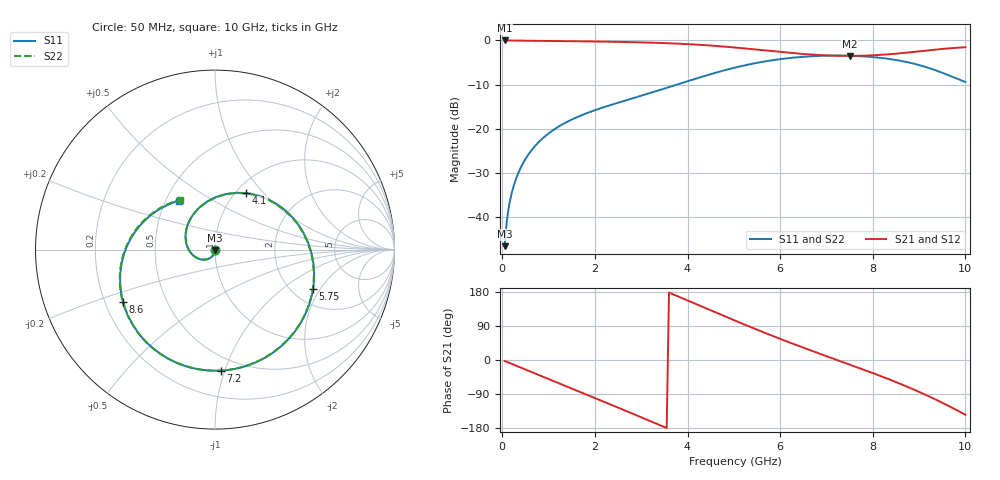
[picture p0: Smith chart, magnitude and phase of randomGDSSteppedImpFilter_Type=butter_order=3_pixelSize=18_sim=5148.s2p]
! freq	dB(S11)	phase(S11)	dB(S12)	phase(S12)
!  dB(S21)	phase(S21)	dB(S22)	phase(S22)
!S-par simulation data
#  GHz  S  DB  R 50
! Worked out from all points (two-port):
!   200 points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, 50 MHz to 10 GHz, reference 50 ohm
!   highest |S21| = 0.00 dB at 50 MHz (marker M1); lowest = -3.5 dB at 7.5 GHz (marker M2)
!   |S21| within 3 dB of the highest: start of sweep to 6.427 GHz; 8.488 GHz to end of sweep
!   lowest |S11| = -46.5 dB at 50 MHz (marker M3), VSWR 1.01, Z = 50 - j0.473 ohm
!   |S11| at or under -10 dB: start of sweep to 3.765 GHz
!   |S22| runs from -46.5 to -3.4 dB; largest |S21 - S12| = 0
!   S11 on the Smith chart (normalised r, x): 50 MHz: 1.00, -0.01; 4.1 GHz: 1.12, +0.80; 5.75 GHz: 2.56, -1.73; 7.2 GHz: 0.39, -0.97; 8.6 GHz: 0.28, -0.24; 10 GHz: 0.58, +0.36
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0.05  -46.49 -91.4  -0.00 -2.5  -0.00 -2.5  -46.50 -91.4
0.1  -40.51 -94.0  -0.01 -5.1  -0.01 -5.1  -40.52 -94.1
0.2  -34.61 -99.2  -0.02 -10.1  -0.02 -10.1  -34.61 -99.2
0.5  -26.80 -115.6  -0.04 -25.1  -0.04 -25.1  -26.80 -115.7
1.15  -19.90 -148.7  -0.11 -57.7  -0.11 -57.7  -19.90 -149.0
1.75  -16.74 -178.9  -0.19 -87.8  -0.19 -87.8  -16.74 -179.3
2.1  -15.41 163.4  -0.25 -105.4  -0.25 -105.4  -15.41 162.9
2.5  -14.07 143.2  -0.32 -125.6  -0.32 -125.6  -14.08 142.6
2.95  -12.65 120.3  -0.42 -148.6  -0.42 -148.6  -12.65 119.6
3.4  -11.21 97.2  -0.56 -171.8  -0.56 -171.8  -11.21 96.5
4.1  -8.89 61.0  -0.89 151.8  -0.89 151.8  -8.89 60.3
4.6  -7.32 35.2  -1.23 125.8  -1.23 125.8  -7.32 34.5
5.05  -6.07 12.4  -1.62 102.6  -1.62 102.6  -6.08 11.7
5.75  -4.60 -22.0  -2.34 67.8  -2.34 67.8  -4.60 -22.6
6.7  -3.56 -65.5  -3.21 23.5  -3.21 23.5  -3.56 -66.1
7.2  -3.42 -87.3  -3.45 1.3  -3.45 1.3  -3.42 -87.9
7.5  -3.46 -100.3  -3.49 -12.0  -3.49 -12.0  -3.46 -100.9
8.35  -4.18 -138.4  -3.12 -50.9  -3.12 -50.9  -4.18 -139.2
8.6  -4.60 -150.5  -2.90 -63.2  -2.90 -63.2  -4.61 -151.3
9.35  -6.72 169.1  -2.07 -103.8  -2.07 -103.8  -6.72 167.9
9.7  -8.14 147.3  -1.74 -125.1  -1.74 -125.1  -8.14 145.9
10  -9.39 126.5  -1.54 -144.6  -1.54 -144.6  -9.39 125.0
